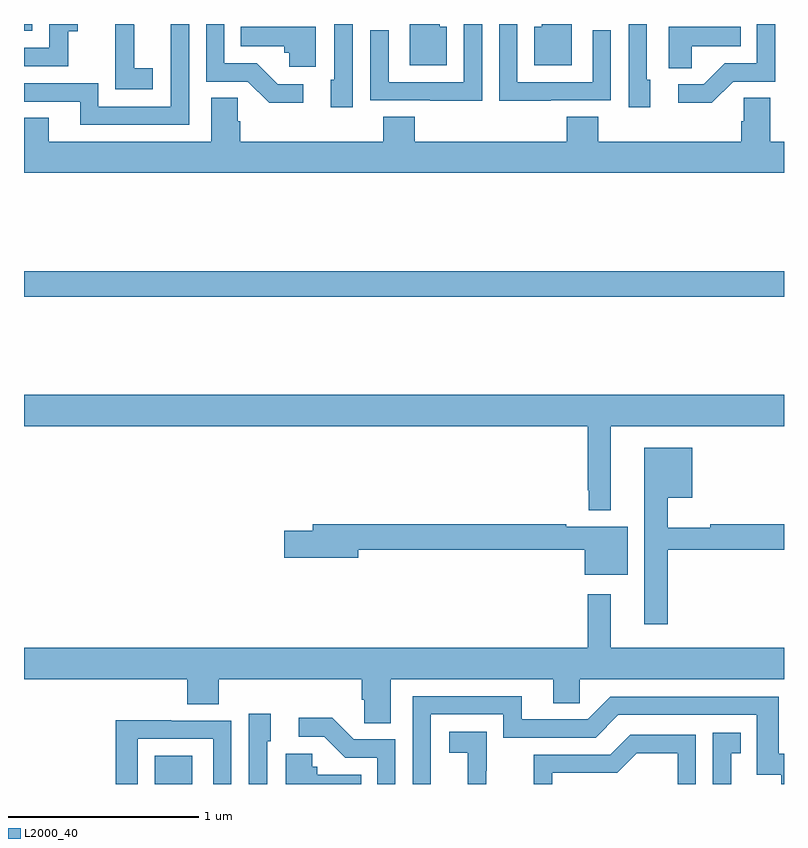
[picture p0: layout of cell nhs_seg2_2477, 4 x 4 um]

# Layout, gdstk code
import gdstk
lib = gdstk.Library(unit=1e-6, precision=1e-09)
def R(c, l, rs):  # rectangles x0, y0, x1, y1
    for r in rs: c.add(gdstk.rectangle(r[:2], r[2:], *l))
def P(c, l, *ps):  # polygons
    for p in ps: c.add(gdstk.Polygon(p, *l))
L2000_40 = (2000, 40)

nhs_seg2_2477 = lib.new_cell('nhs_seg2_2477')
R(nhs_seg2_2477, L2000_40, [(241.688,597.8,241.885,597.949), (241,600.364,245,600.5), (241,601.764,241.044,601.8)])
P(nhs_seg2_2477, L2000_40, [(244.734,601.497),(244.953,601.497),(244.953,601.8),(244.857,601.8),(244.857,601.593),(244.688,601.593),(244.577,601.482),(244.443,601.482),(244.443,601.385),(244.621,601.385)],
  [(244.297,601.506),(244.278,601.506),(244.278,601.8),(244.182,601.8),(244.182,601.362),(244.297,601.362)],
  [(243.773,601.398),(244.089,601.398),(244.089,601.768),(243.993,601.768),(243.993,601.494),(243.597,601.494),(243.597,601.8),(243.501,601.8),(243.501,601.397),(243.773,601.397)],
  [(242.47,601.482),(242.335,601.482),(242.224,601.593),(242.055,601.593),(242.055,601.8),(241.959,601.8),(241.959,601.497),(242.178,601.497),(242.291,601.385),(242.47,601.385)],
  [(243.226,601.786),(243.187,601.786),(243.187,601.8),(243.029,601.8),(243.029,601.583),(243.226,601.583)],
  [(243.883,601.8),(243.725,601.8),(243.725,601.786),(243.686,601.786),(243.686,601.583),(243.883,601.583)],
  [(243.411,601.8),(243.315,601.8),(243.315,601.494),(242.919,601.494),(242.919,601.768),(242.823,601.768),(242.823,601.398),(243.139,601.398),(243.139,601.397),(243.411,601.397)],
  [(241.869,601.8),(241.773,601.8),(241.773,601.365),(241.392,601.365),(241.392,601.488),(241,601.488),(241,601.392),(241.295,601.392),(241.295,601.269),(241.869,601.269)],
  [(241.678,601.567),(241.58,601.567),(241.58,601.796),(241.578,601.796),(241.578,601.8),(241.481,601.8),(241.481,601.663),(241.48,601.663),(241.48,601.457),(241.678,601.457)],
  [(242.73,601.8),(242.634,601.8),(242.634,601.506),(242.615,601.506),(242.615,601.362),(242.73,601.362)],
  [(241.233,601.763),(241.282,601.763),(241.282,601.8),(241.134,601.8),(241.134,601.674),(241,601.674),(241,601.578),(241.233,601.578)],
  [(244.515,601.682),(244.772,601.682),(244.772,601.786),(244.394,601.786),(244.394,601.567),(244.515,601.567)],
  [(242.536,601.786),(242.14,601.786),(242.14,601.682),(242.371,601.682),(242.371,601.65),(242.397,601.65),(242.397,601.574),(242.536,601.574)],
  [(245,601.18),(244.927,601.18),(244.927,601.412),(244.788,601.412),(244.788,601.289),(244.775,601.289),(244.775,601.18),(244.022,601.18),(244.022,601.313),(243.857,601.313),(243.857,601.18),(243.056,601.18),(243.056,601.313),(242.891,601.313),(242.891,601.18),(242.138,601.18),(242.138,601.289),(242.124,601.289),(242.124,601.412),(241.985,601.412),(241.985,601.18),(241.129,601.18),(241.129,601.307),(241,601.307),(241,601.016),(245,601.016)],
  [(244.087,599.684),(245,599.684),(245,599.848),(241,599.848),(241,599.684),(243.966,599.684),(243.966,599.347),(243.972,599.347),(243.972,599.24),(244.087,599.24)],
  [(244.387,599.032),(245,599.032),(245,599.168),(244.612,599.168),(244.612,599.149),(244.387,599.149),(244.387,599.306),(244.516,599.306),(244.516,599.569),(244.265,599.569),(244.265,598.641),(244.387,598.641)],
  [(244.177,599.155),(243.854,599.155),(243.854,599.168),(242.519,599.168),(242.519,599.132),(242.37,599.132),(242.37,598.99),(242.758,598.99),(242.758,599.032),(243.95,599.032),(243.95,598.901),(244.177,598.901)],
  [(242.929,598.352),(243.785,598.352),(243.785,598.225),(243.924,598.225),(243.924,598.352),(245,598.352),(245,598.516),(244.087,598.516),(244.087,598.798),(243.966,598.798),(243.966,598.516),(241,598.516),(241,598.352),(241.859,598.352),(241.859,598.219),(242.024,598.219),(242.024,598.352),(242.777,598.352),(242.777,598.243),(242.79,598.243),(242.79,598.12),(242.929,598.12)],
  [(243.141,598.167),(243.522,598.167),(243.522,598.044),(244.008,598.044),(244.128,598.164),(244.857,598.164),(244.857,597.849),(244.986,597.849),(244.986,597.8),(245,597.8),(245,597.958),(244.973,597.958),(244.973,598.26),(244.086,598.26),(243.966,598.14),(243.619,598.14),(243.619,598.263),(243.045,598.263),(243.045,597.8),(243.141,597.8)],
  [(242.28,598.026),(242.299,598.026),(242.299,598.171),(242.184,598.171),(242.184,597.8),(242.28,597.8)],
  [(242.955,598.035),(242.736,598.035),(242.623,598.148),(242.445,598.148),(242.445,598.05),(242.579,598.05),(242.69,597.939),(242.859,597.939),(242.859,597.8),(242.955,597.8)],
  [(241.599,598.038),(241.995,598.038),(241.995,597.8),(242.091,597.8),(242.091,598.134),(241.775,598.134),(241.775,598.136),(241.483,598.136),(241.483,597.8),(241.599,597.8)],
  [(243.434,597.869),(243.435,597.869),(243.435,598.075),(243.237,598.075),(243.237,597.965),(243.335,597.965),(243.335,597.8),(243.434,597.8)],
  [(244.723,597.963),(244.772,597.963),(244.772,598.069),(244.626,598.069),(244.626,597.8),(244.723,597.8)],
  [(243.78,597.858),(244.122,597.858),(244.226,597.962),(244.44,597.962),(244.44,597.8),(244.536,597.8),(244.536,598.059),(244.19,598.059),(244.085,597.954),(243.682,597.954),(243.682,597.8),(243.78,597.8)],
  [(242.774,597.85),(242.544,597.85),(242.544,597.891),(242.517,597.891),(242.517,597.958),(242.378,597.958),(242.378,597.8),(242.774,597.8)])

lib.write_gds('nhs_seg2_2477.gds')
